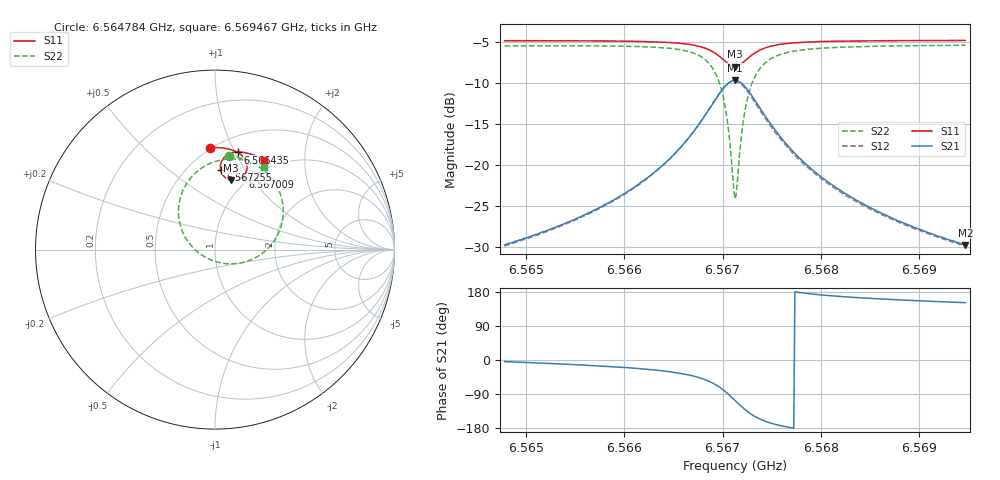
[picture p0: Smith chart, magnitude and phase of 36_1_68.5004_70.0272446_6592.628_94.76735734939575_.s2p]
#  HZ  S  RI  R  50.00
! Rohde & Schwarz Vector Network Analyzer
! Rohde-Schwarz,ZNB20-2Port,1311601062101988,3.16
! Created: UTC 3/20/2024, 4:50:07 PM
! freq[Hz]  re:S11  im:S11  re:S21  im:S21  re:S12  im:S12  re:S22  im:S22
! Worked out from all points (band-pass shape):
!   401 points, 6.564784 GHz to 6.569467 GHz, reference 50 ohm
!   highest |S21| = -9.73 dB at 6.567126 GHz (marker M1); lowest = -29.8 dB at 6.569467 GHz (marker M2)
!   |S21| within 3 dB of the highest: 6.566891 GHz to 6.567359 GHz (468.6 kHz wide, 0.00714 % of centre)
!   lowest |S11| = -8.0 dB at 6.567126 GHz (marker M3), VSWR 2.31, Z = 42.9 + j39.3 ohm
!   |S11| at or under -10 dB: nowhere
!   |S22| runs from -24.1 to -5.4 dB; largest |S21 - S12| = 0.017
!   S11 on the Smith chart (normalised r, x): 6.564784 GHz: 0.49, +0.82; 6.566435 GHz: 0.66, +1.03; 6.567009 GHz: 0.92, +0.93; 6.567255 GHz: 0.71, +0.78; 6.569467 GHz: 0.86, +1.29
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6.5647844e9  -0.0282 0.5688  0.0325 -0.00229  0.0318 -0.00295  0.0765 0.5241
6.5655688e9  0.0383 0.5667  0.0475 -0.011  0.0467 -0.0117  0.1578 0.5054
6.5659902e9  0.0779 0.5599  0.0624 -0.0222  0.0614 -0.0228  0.2139 0.4814
6.5663531e9  0.1172 0.5464  0.0843 -0.0439  0.083 -0.0449  0.2788 0.4364
6.5664351e9  0.1271 0.5411  0.091 -0.0527  0.0898 -0.0538  0.2969 0.4191
6.5666692e9  0.1583 0.5157  0.114 -0.0966  0.1123 -0.0988  0.355 0.3326
6.5668331e9  0.1771 0.478  0.1227 -0.1636  0.1194 -0.1675  0.3802 0.2035
6.5669385e9  0.1756 0.4376  0.1013 -0.2345  0.0943 -0.2394  0.3421 0.0682
6.5670087e9  0.1572 0.4066  0.0542 -0.2873  0.0429 -0.2909  0.2529 -0.0288
6.5670555e9  0.1336 0.3906  0.00264 -0.3128  -0.0119 -0.3132  0.1557 -0.0717
6.5671024e9  0.1029 0.3842  -0.0611 -0.3191  -0.0767 -0.3143  0.0392 -0.0753
6.5671258e9  0.0868 0.3863  -0.0937 -0.3124  -0.1091 -0.3049  -0.0189 -0.0593
6.5671492e9  0.0715 0.3919  -0.1246 -0.2996  -0.1385 -0.2894  -0.0717 -0.0318
6.5672077e9  0.0425 0.4172  -0.1832 -0.2471  -0.1915 -0.233  -0.1666 0.07
6.5672546e9  0.0315 0.4426  -0.2069 -0.197  -0.2105 -0.1825  -0.1989 0.1616
6.5673482e9  0.0347 0.4867  -0.2084 -0.1118  -0.2062 -0.1008  -0.1864 0.3103
6.5674887e9  0.062 0.5231  -0.172 -0.0414  -0.168 -0.0354  -0.1079 0.4281
6.5676643e9  0.0961 0.5397  -0.13 -0.00657  -0.1266 -0.00343  -0.0208 0.4831
6.5679101e9  0.1329 0.544  -0.0929 0.00961  -0.0905 0.011  0.0615 0.5038
6.5682496e9  0.1714 0.5395  -0.0648 0.0154  -0.0631 0.0161  0.1332 0.5036
6.5686945e9  0.2126 0.528  -0.0453 0.0165  -0.0443 0.0168  0.1956 0.4907
6.5694671e9  0.2725 0.5018  -0.0285 0.0156  -0.0278 0.0157  0.2717 0.4599
